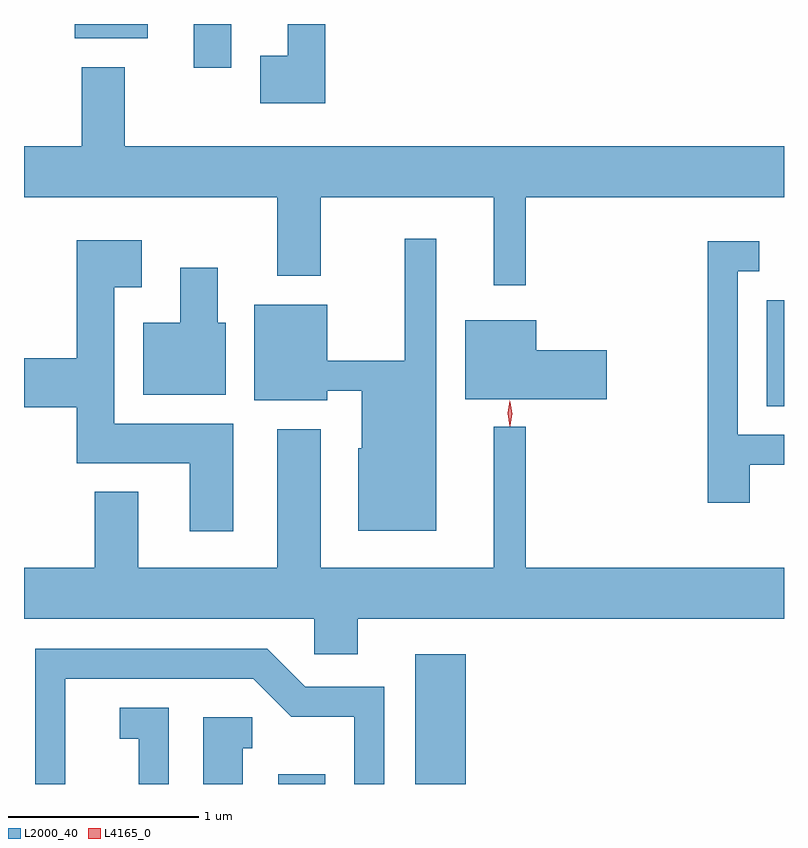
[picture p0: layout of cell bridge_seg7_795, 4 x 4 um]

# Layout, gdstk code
import gdstk
lib = gdstk.Library(unit=1e-6, precision=1e-09)
def R(c, l, rs):  # rectangles x0, y0, x1, y1
    for r in rs: c.add(gdstk.rectangle(r[:2], r[2:], *l))
def P(c, l, *ps):  # polygons
    for p in ps: c.add(gdstk.Polygon(p, *l))
L2000_40 = (2000, 40)
L4165_0 = (4165, 0)

bridge_seg7_795 = lib.new_cell('bridge_seg7_795')
R(bridge_seg7_795, L2000_40, [(378.046,1784.487,378.294,1784.539), (378.766,1784.487,379.034,1785.169), (380.616,1786.476,380.708,1787.034), (377.601,1788.256,377.799,1788.487), (376.976,1788.411,377.359,1788.487)])
P(bridge_seg7_795, L2000_40, [(378.294,1788.487),(378.096,1788.487),(378.096,1788.319),(377.951,1788.319),(377.951,1788.071),(378.294,1788.071)],
  [(379.349,1787.576),(380.708,1787.576),(380.708,1787.844),(377.239,1787.844),(377.239,1788.259),(377.011,1788.259),(377.011,1787.844),(376.708,1787.844),(376.708,1787.576),(378.041,1787.576),(378.041,1787.161),(378.269,1787.161),(378.269,1787.576),(379.181,1787.576),(379.181,1787.113),(379.349,1787.113)],
  [(378.879,1787.358),(378.711,1787.358),(378.711,1786.714),(378.304,1786.714),(378.304,1787.009),(377.921,1787.009),(377.921,1786.506),(378.304,1786.506),(378.304,1786.556),(378.486,1786.556),(378.486,1786.254),(378.466,1786.254),(378.466,1785.821),(378.879,1785.821)],
  [(377.809,1786.384),(377.184,1786.384),(377.184,1787.101),(377.329,1787.101),(377.329,1787.349),(376.986,1787.349),(376.986,1786.729),(376.708,1786.729),(376.708,1786.471),(376.986,1786.471),(376.986,1786.176),(377.581,1786.176),(377.581,1785.816),(377.809,1785.816)],
  [(380.529,1786.166),(380.708,1786.166),(380.708,1786.324),(380.464,1786.324),(380.464,1787.186),(380.578,1787.186),(380.578,1787.344),(380.306,1787.344),(380.306,1785.966),(380.529,1785.966)],
  [(377.769,1786.914),(377.729,1786.914),(377.729,1787.204),(377.531,1787.204),(377.531,1786.914),(377.336,1786.914),(377.336,1786.536),(377.769,1786.536)],
  [(379.774,1786.769),(379.404,1786.769),(379.404,1786.929),(379.031,1786.929),(379.031,1786.511),(379.774,1786.511)],
  [(378.464,1785.356),(380.708,1785.356),(380.708,1785.624),(379.349,1785.624),(379.349,1786.368),(379.181,1786.368),(379.181,1785.624),(378.269,1785.624),(378.269,1786.354),(378.041,1786.354),(378.041,1785.624),(377.309,1785.624),(377.309,1786.024),(377.081,1786.024),(377.081,1785.624),(376.708,1785.624),(376.708,1785.356),(378.236,1785.356),(378.236,1785.171),(378.464,1785.171)],
  [(376.924,1785.041),(377.914,1785.041),(378.114,1784.841),(378.446,1784.841),(378.446,1784.487),(378.604,1784.487),(378.604,1784.999),(378.187,1784.999),(377.987,1785.199),(376.766,1785.199),(376.766,1784.487),(376.924,1784.487)],
  [(377.469,1784.889),(377.213,1784.889),(377.213,1784.726),(377.311,1784.726),(377.311,1784.487),(377.469,1784.487)],
  [(377.859,1784.676),(377.908,1784.676),(377.908,1784.839),(377.651,1784.839),(377.651,1784.487),(377.859,1784.487)])
P(bridge_seg7_795, L4165_0, [(379.267,1786.373),(379.266,1786.374),(379.257,1786.436),(379.266,1786.5),(379.267,1786.5),(379.267,1786.5),(379.277,1786.436),(379.267,1786.374)],
  [(379.264,1786.37),(379.255,1786.438),(379.264,1786.505),(379.264,1786.506),(379.265,1786.505),(379.274,1786.438),(379.266,1786.37),(379.265,1786.37)])

lib.write_gds('bridge_seg7_795.gds')
